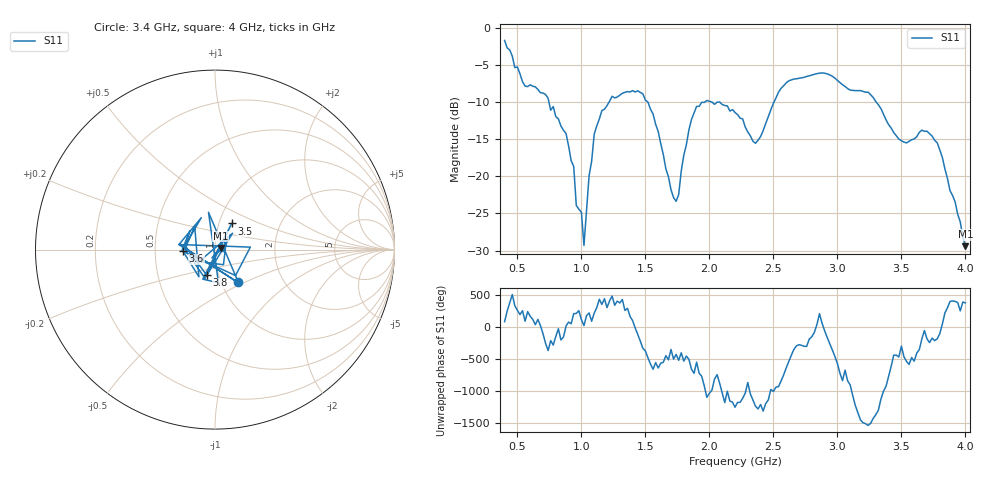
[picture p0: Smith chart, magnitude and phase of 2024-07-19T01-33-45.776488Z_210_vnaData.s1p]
!Created with skrf (http://scikit-rf.org).
# Hz S RI R 50.0
!freq ReS11 ImS11
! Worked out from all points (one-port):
!   181 points, 400 MHz to 4 GHz, reference 50 ohm
!   lowest |S11| = -29.4 dB at 4 GHz (marker M1), VSWR 1.07, Z = 53.4 + j0.893 ohm
!   |S11| at or under -10 dB: 746.2 MHz to 1.216 GHz (470.3 MHz wide, 47.9 % of centre); 2.018 GHz to 2.505 GHz (487 MHz wide, 21.5 % of centre); 3.303 GHz to end of sweep (the widest 3 of 4)
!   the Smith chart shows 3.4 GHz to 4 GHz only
!   S11 on the Smith chart (normalised r, x): 3.4 GHz: 1.20, -0.46; 3.5 GHz: 1.15, +0.35; 3.6 GHz: 0.70, -0.01; 3.8 GHz: 0.88, -0.26; 4 GHz: 1.07, +0.02
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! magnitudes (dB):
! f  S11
! 400 MHz  -1.7
! 560 MHz  -7.9
! 720 MHz  -9.0
! 860 MHz  -13.8
! 940 MHz  -18.7
! 960 MHz  -23.9
! 1 GHz  -24.8
! 1.02 GHz  -29.3
! 1.06 GHz  -19.9
! 1.1 GHz  -14.3
! 1.3 GHz  -9.1
! 1.52 GHz  -10.0
! 1.72 GHz  -22.9
! 1.76 GHz  -22.5
! 1.84 GHz  -13.7
! 1.9 GHz  -10.6
! 2.2 GHz  -11.4
! 2.36 GHz  -15.6
! 2.66 GHz  -6.9
! 3.1 GHz  -8.4
! 3.24 GHz  -8.7
! 3.4 GHz  -13.0
! 3.5 GHz  -15.2
! 3.56 GHz  -15.3
! 3.6 GHz  -15.0
! 3.7 GHz  -13.9
! 3.8 GHz  -16.5
! 4 GHz  -29.4
